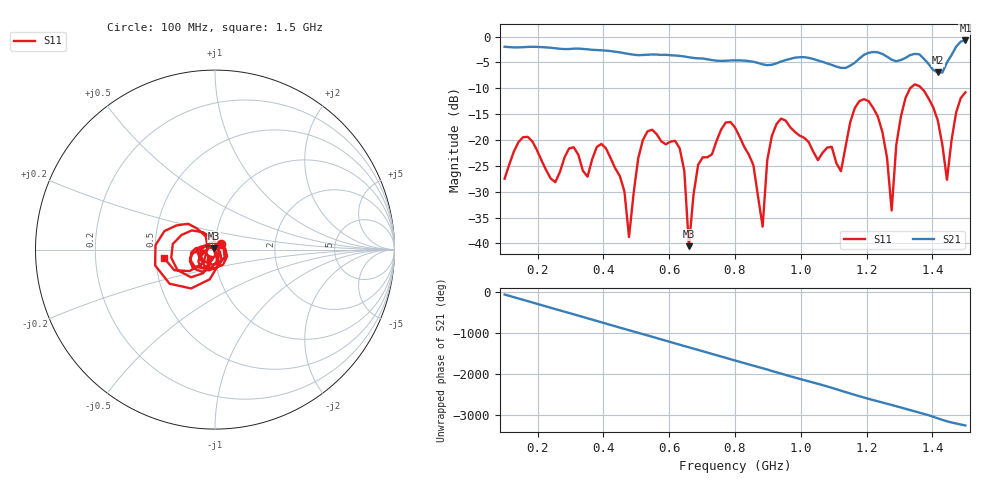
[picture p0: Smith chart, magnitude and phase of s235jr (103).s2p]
! NanoVNA-App
! Date: 2025-09-25 15:04:58
! Start: 100MHz Stop: 1,5GHz Points: 101
! S-Parameter data: F S11 S21 S12 S22
# Hz S RI R 50
!  Frequency  S11_Real  S11_Imag  S21_Real  S21_Imag  S12_Real  S12_Imag  S22_Real  S22_Imag
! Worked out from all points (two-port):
!   101 points, 100 MHz to 1.5 GHz, reference 50 ohm
!   highest |S21| = -0.75 dB at 1.5 GHz (marker M1); lowest = -6.9 dB at 1.416 GHz (marker M2)
!   |S21| within 3 dB of the highest: start of sweep to 633.7 MHz; 1.188 GHz to 1.258 GHz (70.64 MHz wide, 5.78 % of centre) (the widest 2 of 4)
!   lowest |S11| = -40.5 dB at 660 MHz (marker M3), VSWR 1.02, Z = 49.3 + j0.629 ohm
!   |S11| at or under -10 dB: start of sweep to 1.332 GHz; 1.367 GHz to end of sweep
!   S12 and S22 are empty: the file has one direction only
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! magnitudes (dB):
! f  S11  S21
! 100 MHz  -27.5  -2.0
! 156 MHz  -19.5  -2.1
! 338 MHz  -26.0  -2.4
! 408 MHz  -21.6  -2.7
! 478 MHz  -38.8  -3.4
! 520 MHz  -20.0  -3.6
! 576 MHz  -20.3  -3.6
! 632 MHz  -21.6  -3.7
! 660 MHz  -40.5  -4.0
! 688 MHz  -24.8  -4.2
! 800 MHz  -17.6  -4.6
! 884 MHz  -36.8  -5.4
! 926 MHz  -16.9  -5.2
! 1.038 GHz  -22.3  -4.3
! 1.122 GHz  -26.0  -6.1
! 1.206 GHz  -12.5  -3.1
! 1.276 GHz  -33.6  -4.5
! 1.29 GHz  -21.0  -4.8
! 1.332 GHz  -10.0  -3.6
! 1.416 GHz  -16.2  -6.9
! 1.444 GHz  -27.7  -5.0
! 1.5 GHz  -10.8  -0.8
